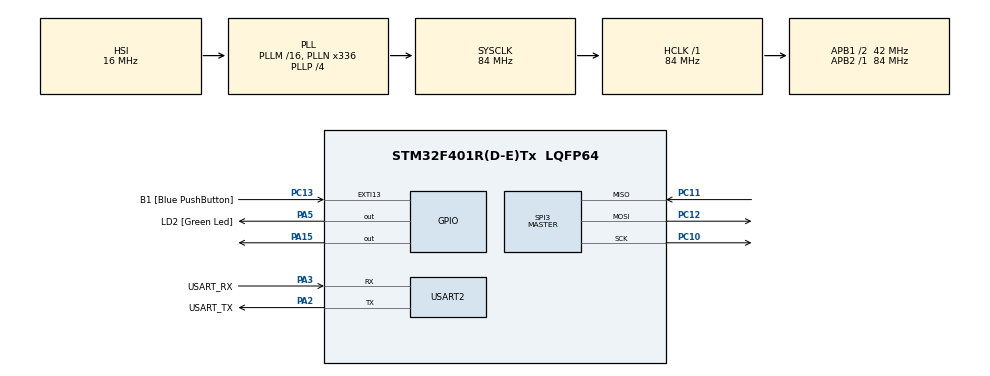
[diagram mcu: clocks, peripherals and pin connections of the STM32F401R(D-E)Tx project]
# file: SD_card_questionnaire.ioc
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FATFS._USE_LFN=1
Mcu.Family=STM32F4
Mcu.Name=STM32F401R(D-E)Tx
Mcu.Package=LQFP64
NVIC.PriorityGroup=NVIC_PRIORITYGROUP_4
PA13.GPIO_Label=TMS
PA13.Mode=Trace_Asynchronous_SW
PA13.Signal=SYS_JTMS-SWDIO
PA14.GPIO_Label=TCK
PA14.Mode=Trace_Asynchronous_SW
PA14.Signal=SYS_JTCK-SWCLK
PA15.Signal=GPIO_Output
PA2.GPIO_Label=USART_TX
PA2.GPIO_Mode=GPIO_MODE_AF_PP
PA2.GPIO_PuPd=GPIO_NOPULL
PA2.GPIO_Speed=GPIO_SPEED_FREQ_LOW
PA2.Mode=Asynchronous
PA2.Signal=USART2_TX
PA3.GPIO_Label=USART_RX
PA3.GPIO_Mode=GPIO_MODE_AF_PP
PA3.GPIO_PuPd=GPIO_NOPULL
PA3.GPIO_Speed=GPIO_SPEED_FREQ_LOW
PA3.Mode=Asynchronous
PA3.Signal=USART2_RX
PA5.GPIO_Label=LD2 [Green Led]
PA5.GPIO_Mode=GPIO_MODE_OUTPUT_PP
PA5.GPIO_PuPd=GPIO_NOPULL
PA5.GPIO_Speed=GPIO_SPEED_FREQ_LOW
PA5.Signal=GPIO_Output
PB3.GPIO_Label=SWO
PB3.Mode=Trace_Asynchronous_SW
PB3.Signal=SYS_JTDO-SWO
PC10.GPIO_Mode=GPIO_MODE_AF_PP
PC10.Mode=Full_Duplex_Master
PC10.Signal=SPI3_SCK
PC11.GPIO_Mode=GPIO_MODE_AF_PP
PC11.Mode=Full_Duplex_Master
PC11.Signal=SPI3_MISO
PC12.GPIO_Mode=GPIO_MODE_AF_PP
PC12.Mode=Full_Duplex_Master
PC12.Signal=SPI3_MOSI
PC13-ANTI_TAMP.GPIO_Label=B1 [Blue PushButton]
PC13-ANTI_TAMP.GPIO_ModeDefaultEXTI=GPIO_MODE_IT_FALLING
PC13-ANTI_TAMP.GPIO_PuPd=GPIO_NOPULL
PC13-ANTI_TAMP.Signal=GPXTI13
PC14-OSC32_IN.Mode=LSE-External-Oscillator
PC14-OSC32_IN.Signal=RCC_OSC32_IN
PC15-OSC32_OUT.Mode=LSE-External-Oscillator
PC15-OSC32_OUT.Signal=RCC_OSC32_OUT
PH0\ -\ OSC_IN.Mode=HSE-External-Clock-Source
PH0\ -\ OSC_IN.Signal=RCC_OSC_IN
PH1\ -\ OSC_OUT.Mode=HSE-External-Clock-Source
PH1\ -\ OSC_OUT.Signal=RCC_OSC_OUT
ProjectManager.HeapSize=0x200
ProjectManager.StackSize=0x400
ProjectManager.TargetToolchain=STM32CubeIDE
RCC.48MHZClocksFreq_Value=48000000
RCC.AHBFreq_Value=84000000
RCC.APB1CLKDivider=RCC_HCLK_DIV2
RCC.APB1Freq_Value=42000000
RCC.APB1TimFreq_Value=84000000
RCC.APB2Freq_Value=84000000
RCC.APB2TimFreq_Value=84000000
RCC.CortexFreq_Value=84000000
RCC.HCLKFreq_Value=84000000
RCC.HSE_VALUE=8000000
RCC.HSI_VALUE=16000000
RCC.PLLN=336
RCC.PLLP=RCC_PLLP_DIV4
RCC.PLLQ=7
RCC.SYSCLKFreq_VALUE=84000000
RCC.SYSCLKSource=RCC_SYSCLKSOURCE_PLLCLK
RCC.VCOOutputFreq_Value=336000000
SPI3.BaudRatePrescaler=SPI_BAUDRATEPRESCALER_256
SPI3.Direction=SPI_DIRECTION_2LINES
SPI3.Mode=SPI_MODE_MASTER
SPI3.VirtualType=VM_MASTER
USART2.VirtualMode=VM_ASYNC
VP_FATFS_VS_Generic.Mode=User_defined
board=NUCLEO-F401RE

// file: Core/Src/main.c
/* USER CODE BEGIN Header */
/**
  ******************************************************************************
  * @file           : main.c
  * @brief          : Main program body
  ******************************************************************************
  * @attention
  *
  * Copyright (c) 2025 STMicroelectronics.
  * All rights reserved.
  *
  * This software is licensed under terms that can be found in the LICENSE file
  * in the root directory of this software component.
  * If no LICENSE file comes with this software, it is provided AS-IS.
  *
  ******************************************************************************
  */
/* USER CODE END Header */
#include "main.h"
#include "fatfs.h"
#include "spi.h"
#include "usart.h"
#include "gpio.h"

/* USER CODE BEGIN Includes */
#include <string.h>
#include <stdio.h>
/* USER CODE END Includes */

void SystemClock_Config(void);

/* USER CODE BEGIN 0 */
static void UART_SendStr(const char *s)
{
  HAL_UART_Transmit(&huart2, (uint8_t*)s, (uint16_t)strlen(s), HAL_MAX_DELAY);
}

static uint16_t UART_ReadLine(char *buf, uint16_t maxlen)
{
  uint16_t idx = 0;
  uint8_t ch;
  while (idx < (uint16_t)(maxlen - 1))
  {
    if (HAL_UART_Receive(&huart2, &ch, 1, HAL_MAX_DELAY) != HAL_OK)
      break;
    if (ch == '\r' || ch == '\n')
    {
      break;
    }
    buf[idx++] = (char)ch;
  }
  buf[idx] = '\0';
  return idx;
}

typedef struct {
  const char *question;
  const char *options;
} QA;
/* USER CODE END 0 */

int main(void)
{

  /* MCU Configuration--------------------------------------------------------*/

  /* Reset of all peripherals, Initializes the Flash interface and the Systick. */
  HAL_Init();

  /* Configure the system clock */
  SystemClock_Config();

  /* Initialize all configured peripherals */
  MX_GPIO_Init();
  MX_USART2_UART_Init();
  MX_SPI3_Init();
  MX_FATFS_Init();
  /* USER CODE BEGIN 2 */

  FATFS fs;
  FIL file;
  FRESULT res;
  char name[32];
  char fname[48];
  char answer[8];
  const QA survey[] = {
    { "What is your favorite color? (a)Red (b)Green (c)Blue", "abc" },
    { "Do you want email updates? (y/n)", "yn" },
    { "Rate your experience 1-5", "12345" }
  };
  const uint8_t qcount = sizeof(survey) / sizeof(survey[0]);

  UART_SendStr("Questionnaire starting...\r\n");
  UART_SendStr("Mounting SD...\r\n");

  res = f_mount(&fs, "", 1);
  if (res != FR_OK)
  {
    char msg[48];
    int n = snprintf(msg, sizeof(msg), "SD mount FAILED (%d)\r\n", res);
    UART_SendStr(msg);
    Error_Handler();
  }
  UART_SendStr("SD mount OK\r\n");

  UART_SendStr("Enter your name: ");
  UART_ReadLine(name, sizeof(name));
  UART_SendStr("\r\n");
  if (strlen(name) == 0)
  {
    strcpy(name, "anon");
  }

  // build filename "<name>.txt"
  snprintf(fname, sizeof(fname), "%s.txt", name);

  res = f_open(&file, fname, FA_WRITE | FA_CREATE_ALWAYS);
  if (res != FR_OK)
  {
    UART_SendStr("File open FAILED\r\n");
    Error_Handler();
  }

  f_puts("Questionnaire responses\r\n", &file);
  f_puts("-----------------------\r\n", &file);
  f_puts("Name: ", &file); f_puts(name, &file); f_puts("\r\n", &file);

  for (uint8_t i = 0; i < qcount; i++)
  {
    UART_SendStr("\r\n");
    UART_SendStr(survey[i].question);
    UART_SendStr("\r\nYour answer: ");
    UART_ReadLine(answer, sizeof(answer));
    UART_SendStr("\r\n");

    // store first char or whole answer
    f_puts("Q: ", &file); f_puts(survey[i].question, &file); f_puts("\r\n", &file);
    f_puts("A: ", &file); f_puts(answer, &file); f_puts("\r\n", &file);
  }

  f_close(&file);
  UART_SendStr("\r\nSaved responses to ");
  UART_SendStr(fname);
  UART_SendStr("\r\n");

  // simple LED blink to indicate completion
  HAL_GPIO_TogglePin(LD2_GPIO_Port, LD2_Pin);

  /* USER CODE END 2 */

  /* Infinite loop */
  while (1)
  {

  }
}

void SystemClock_Config(void)
{
  RCC_OscInitTypeDef RCC_OscInitStruct = {0};
  RCC_ClkInitTypeDef RCC_ClkInitStruct = {0};

  /** Configure the main internal regulator output voltage
  */
  __HAL_RCC_PWR_CLK_ENABLE();
  __HAL_PWR_VOLTAGESCALING_CONFIG(PWR_REGULATOR_VOLTAGE_SCALE2);

  /** Initializes the RCC Oscillators according to the specified parameters
  * in the RCC_OscInitTypeDef structure.
  */
  RCC_OscInitStruct.OscillatorType = RCC_OSCILLATORTYPE_HSI;
  RCC_OscInitStruct.HSIState = RCC_HSI_ON;
  RCC_OscInitStruct.HSICalibrationValue = RCC_HSICALIBRATION_DEFAULT;
  RCC_OscInitStruct.PLL.PLLState = RCC_PLL_ON;
  RCC_OscInitStruct.PLL.PLLSource = RCC_PLLSOURCE_HSI;
  RCC_OscInitStruct.PLL.PLLM = 16;
  RCC_OscInitStruct.PLL.PLLN = 336;
  RCC_OscInitStruct.PLL.PLLP = RCC_PLLP_DIV4;
  RCC_OscInitStruct.PLL.PLLQ = 7;
  if (HAL_RCC_OscConfig(&RCC_OscInitStruct) != HAL_OK)
  {
    Error_Handler();
  }

  /** Initializes the CPU, AHB and APB buses clocks
  */
  RCC_ClkInitStruct.ClockType = RCC_CLOCKTYPE_HCLK|RCC_CLOCKTYPE_SYSCLK
                              |RCC_CLOCKTYPE_PCLK1|RCC_CLOCKTYPE_PCLK2;
  RCC_ClkInitStruct.SYSCLKSource = RCC_SYSCLKSOURCE_PLLCLK;
  RCC_ClkInitStruct.AHBCLKDivider = RCC_SYSCLK_DIV1;
  RCC_ClkInitStruct.APB1CLKDivider = RCC_HCLK_DIV2;
  RCC_ClkInitStruct.APB2CLKDivider = RCC_HCLK_DIV1;

  if (HAL_RCC_ClockConfig(&RCC_ClkInitStruct, FLASH_LATENCY_2) != HAL_OK)
  {
    Error_Handler();
  }
}

void Error_Handler(void)
{
  __disable_irq();
  while (1)
  {
  }
}
